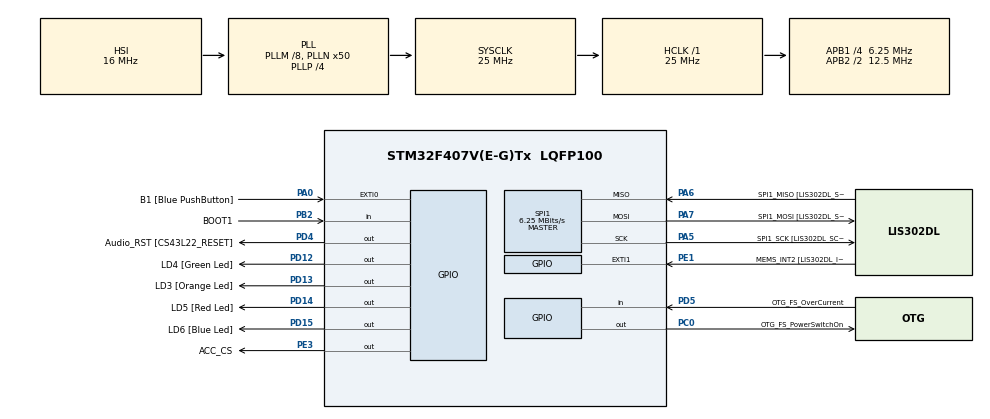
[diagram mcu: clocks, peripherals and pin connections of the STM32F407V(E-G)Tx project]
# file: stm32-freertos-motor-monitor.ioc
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FREERTOS.Tasks01=defaultTask,24,128,StartDefaultTask,Default,NULL,Dynamic,NULL,NULL
FREERTOS.configCHECK_FOR_STACK_OVERFLOW=2
FREERTOS.configUSE_MALLOC_FAILED_HOOK=1
FREERTOS.configUSE_NEWLIB_REENTRANT=1
Mcu.Family=STM32F4
Mcu.Name=STM32F407V(E-G)Tx
Mcu.Package=LQFP100
NVIC.EXTI0_IRQn=true\:6\:0\:true\:false\:true\:true\:true\:true\:true
NVIC.PriorityGroup=NVIC_PRIORITYGROUP_4
NVIC.TIM6_DAC_IRQn=true\:15\:0\:false\:false\:true\:false\:false\:true\:true
NVIC.TimeBase=TIM6_DAC_IRQn
NVIC.TimeBaseIP=TIM6
PA0-WKUP.GPIO_Label=B1 [Blue PushButton]
PA0-WKUP.Signal=GPXTI0
PA10.GPIO_Label=OTG_FS_ID
PA10.GPIO_Mode=GPIO_MODE_AF_PP
PA10.GPIO_PuPd=GPIO_NOPULL
PA10.GPIO_Speed=GPIO_SPEED_FREQ_LOW
PA10.Signal=USB_OTG_FS_ID
PA11.GPIO_Label=OTG_FS_DM
PA11.GPIO_Mode=GPIO_MODE_AF_PP
PA11.GPIO_PuPd=GPIO_NOPULL
PA11.GPIO_Speed=GPIO_SPEED_FREQ_LOW
PA11.Signal=USB_OTG_FS_DM
PA12.GPIO_Label=OTG_FS_DP
PA12.GPIO_Mode=GPIO_MODE_AF_PP
PA12.GPIO_PuPd=GPIO_NOPULL
PA12.GPIO_Speed=GPIO_SPEED_FREQ_LOW
PA12.Signal=USB_OTG_FS_DP
PA13.GPIO_Label=SWDIO
PA13.Signal=SYS_JTMS-SWDIO
PA14.GPIO_Label=SWCLK
PA14.Signal=SYS_JTCK-SWCLK
PA4.GPIO_Label=I2S3_WS [CS43L22_LRCK]
PA4.GPIO_Mode=GPIO_MODE_AF_PP
PA4.GPIO_PuPd=GPIO_NOPULL
PA4.GPIO_Speed=GPIO_SPEED_FREQ_LOW
PA4.Signal=I2S3_WS
PA5.GPIO_Label=SPI1_SCK [LIS302DL_SCL/SPC]
PA5.GPIO_Mode=GPIO_MODE_AF_PP
PA5.GPIO_PuPd=GPIO_NOPULL
PA5.GPIO_Speed=GPIO_SPEED_FREQ_LOW
PA5.Mode=Full_Duplex_Master
PA5.Signal=SPI1_SCK
PA6.GPIO_Label=SPI1_MISO [LIS302DL_SDO]
PA6.GPIO_Mode=GPIO_MODE_AF_PP
PA6.GPIO_PuPd=GPIO_NOPULL
PA6.GPIO_Speed=GPIO_SPEED_FREQ_LOW
PA6.Mode=Full_Duplex_Master
PA6.Signal=SPI1_MISO
PA7.GPIO_Label=SPI1_MOSI [LIS302DL_SDA/SDI/SDO]
PA7.GPIO_Mode=GPIO_MODE_AF_PP
PA7.GPIO_PuPd=GPIO_NOPULL
PA7.GPIO_Speed=GPIO_SPEED_FREQ_LOW
PA7.Mode=Full_Duplex_Master
PA7.Signal=SPI1_MOSI
PA9.GPIO_Label=VBUS_FS
PA9.GPIO_Mode=GPIO_MODE_INPUT
PA9.GPIO_PuPd=GPIO_NOPULL
PA9.Signal=USB_OTG_FS_VBUS
PB10.GPIO_Label=CLK_IN [MP45DT02_CLK]
PB10.GPIO_Mode=GPIO_MODE_AF_PP
PB10.GPIO_PuPd=GPIO_NOPULL
PB10.GPIO_Speed=GPIO_SPEED_FREQ_LOW
PB10.Signal=I2S2_CK
PB2.GPIO_Label=BOOT1
PB2.GPIO_Mode=GPIO_MODE_INPUT
PB2.GPIO_PuPd=GPIO_NOPULL
PB2.Signal=GPIO_Input
PB3.GPIO_Label=SWO
PB3.Signal=SYS_JTDO-SWO
PB6.GPIO_Label=Audio_SCL [CS43L22_SCL]
PB6.GPIO_Mode=GPIO_MODE_AF_OD
PB6.GPIO_PuPd=GPIO_NOPULL
PB6.GPIO_Speed=GPIO_SPEED_FREQ_LOW
PB6.Signal=I2C1_SCL
PB9.GPIO_Label=Audio_SDA [CS43L22_SDA]
PB9.GPIO_Mode=GPIO_MODE_AF_OD
PB9.GPIO_PuPd=GPIO_NOPULL
PB9.GPIO_Speed=GPIO_SPEED_FREQ_LOW
PB9.Signal=I2C1_SDA
PC0.GPIO_Label=OTG_FS_PowerSwitchOn
PC0.GPIO_PuPd=GPIO_NOPULL
PC0.GPIO_Speed=GPIO_SPEED_FREQ_LOW
PC0.PinState=GPIO_PIN_SET
PC0.Signal=GPIO_Output
PC10.GPIO_Label=I2S3_SCK [CS43L22_SCLK]
PC10.GPIO_Mode=GPIO_MODE_AF_PP
PC10.GPIO_PuPd=GPIO_NOPULL
PC10.GPIO_Speed=GPIO_SPEED_FREQ_LOW
PC10.Signal=I2S3_CK
PC12.GPIO_Label=I2S3_SD [CS43L22_SDIN]
PC12.GPIO_Mode=GPIO_MODE_AF_PP
PC12.GPIO_PuPd=GPIO_NOPULL
PC12.GPIO_Speed=GPIO_SPEED_FREQ_LOW
PC12.Signal=I2S3_SD
PC14-OSC32_IN.GPIO_Label=PC14-OSC32_IN
PC14-OSC32_IN.Signal=RCC_OSC32_IN
PC15-OSC32_OUT.GPIO_Label=PC15-OSC32_OUT
PC15-OSC32_OUT.Signal=RCC_OSC32_OUT
PC3.GPIO_Label=PDM_OUT [MP45DT02_DOUT]
PC3.GPIO_Mode=GPIO_MODE_AF_PP
PC3.GPIO_PuPd=GPIO_NOPULL
PC3.GPIO_Speed=GPIO_SPEED_FREQ_LOW
PC3.Signal=I2S2_SD
PC7.GPIO_Label=I2S3_MCK [CS43L22_MCLK]
PC7.GPIO_Mode=GPIO_MODE_AF_PP
PC7.GPIO_PuPd=GPIO_NOPULL
PC7.GPIO_Speed=GPIO_SPEED_FREQ_LOW
PC7.Signal=I2S3_MCK
PD12.GPIO_Label=LD4 [Green Led]
PD12.GPIO_PuPd=GPIO_NOPULL
PD12.GPIO_Speed=GPIO_SPEED_FREQ_LOW
PD12.Signal=GPIO_Output
PD13.GPIO_Label=LD3 [Orange Led]
PD13.GPIO_PuPd=GPIO_NOPULL
PD13.GPIO_Speed=GPIO_SPEED_FREQ_LOW
PD13.Signal=GPIO_Output
PD14.GPIO_Label=LD5 [Red Led]
PD14.GPIO_PuPd=GPIO_NOPULL
PD14.GPIO_Speed=GPIO_SPEED_FREQ_LOW
PD14.Signal=GPIO_Output
PD15.GPIO_Label=LD6 [Blue Led]
PD15.GPIO_PuPd=GPIO_NOPULL
PD15.GPIO_Speed=GPIO_SPEED_FREQ_LOW
PD15.Signal=GPIO_Output
PD4.GPIO_Label=Audio_RST [CS43L22_RESET]
PD4.GPIO_PuPd=GPIO_NOPULL
PD4.GPIO_Speed=GPIO_SPEED_FREQ_LOW
PD4.Signal=GPIO_Output
PD5.GPIO_Label=OTG_FS_OverCurrent
PD5.GPIO_Mode=GPIO_MODE_INPUT
PD5.GPIO_PuPd=GPIO_NOPULL
PD5.Signal=GPIO_Input
PE1.GPIO_Label=MEMS_INT2 [LIS302DL_INT2]
PE1.GPIO_ModeDefaultEXTI=GPIO_MODE_EVT_RISING
PE1.GPIO_PuPd=GPIO_NOPULL
PE1.Signal=GPXTI1
PE3.GPIO_Label=ACC_CS
PE3.GPIO_PuPd=GPIO_NOPULL
PE3.GPIO_Speed=GPIO_SPEED_FREQ_LOW
PE3.PinState=GPIO_PIN_SET
PE3.Signal=GPIO_Output
PH0-OSC_IN.GPIO_Label=PH0-OSC_IN
PH0-OSC_IN.Signal=RCC_OSC_IN
PH1-OSC_OUT.GPIO_Label=PH1-OSC_OUT
PH1-OSC_OUT.Signal=RCC_OSC_OUT
ProjectManager.HeapSize=0x200
ProjectManager.StackSize=0x400
ProjectManager.TargetToolchain=STM32CubeIDE
RCC.48MHZClocksFreq_Value=14285714.285714285
RCC.AHBFreq_Value=25000000
RCC.APB1CLKDivider=RCC_HCLK_DIV4
RCC.APB1Freq_Value=6250000
RCC.APB1TimFreq_Value=12500000
RCC.APB2CLKDivider=RCC_HCLK_DIV2
RCC.APB2Freq_Value=12500000
RCC.APB2TimFreq_Value=25000000
RCC.CortexFreq_Value=25000000
RCC.HCLKFreq_Value=25000000
RCC.HSE_VALUE=8000000
RCC.HSI_VALUE=16000000
RCC.LSE_VALUE=32768
RCC.PLLM=8
RCC.PLLN=50
RCC.PLLP=RCC_PLLP_DIV4
RCC.PLLQ=7
RCC.SYSCLKFreq_VALUE=25000000
RCC.SYSCLKSource=RCC_SYSCLKSOURCE_PLLCLK
RCC.VCOOutputFreq_Value=100000000
SPI1.CLKPhase=SPI_PHASE_2EDGE
SPI1.CLKPolarity=SPI_POLARITY_HIGH
SPI1.CalculateBaudRate=6.25 MBits/s
SPI1.Direction=SPI_DIRECTION_2LINES
SPI1.Mode=SPI_MODE_MASTER
SPI1.VirtualType=VM_MASTER
VP_FREERTOS_VS_CMSIS_V2.Mode=CMSIS_V2
VP_SYS_VS_tim6.Mode=TIM6
board=STM32F407G-DISC1

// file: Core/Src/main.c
/* USER CODE BEGIN Header */
/**
  ******************************************************************************
  * @file           : main.c
  * @brief          : Main program body
  ******************************************************************************
  * @attention
  *
  * Copyright (c) 2026 STMicroelectronics.
  * All rights reserved.
  *
  * This software is licensed under terms that can be found in the LICENSE file
  * in the root directory of this software component.
  * If no LICENSE file comes with this software, it is provided AS-IS.
  *
  ******************************************************************************
  */
/* USER CODE END Header */
#include "main.h"
#include "cmsis_os.h"

/* USER CODE BEGIN Includes */
#include "FreeRTOS.h"
#include "task.h"
#include "queue.h"
/* USER CODE END Includes */

SPI_HandleTypeDef hspi1;

/* Definitions for defaultTask */
osThreadId_t defaultTaskHandle;
const osThreadAttr_t defaultTask_attributes = {
  .name = "defaultTask",
  .stack_size = 128 * 4,
  .priority = (osPriority_t) osPriorityNormal,
};
/* USER CODE BEGIN PV */
static QueueHandle_t btnQueue;
static TaskHandle_t imuTaskHandle;
/* USER CODE END PV */

void SystemClock_Config(void);
static void MX_GPIO_Init(void);
static void MX_SPI1_Init(void);
void StartDefaultTask(void *argument);

/* USER CODE BEGIN 0 */
static void TaskA(void *arg)
{
  (void)arg;
  for (;;) {
    HAL_GPIO_WritePin(GPIOD, GPIO_PIN_12, GPIO_PIN_SET);    // yeşil yan
    HAL_Delay(1000);                                        // 1 saniye "çalış"
    HAL_GPIO_WritePin(GPIOD, GPIO_PIN_12, GPIO_PIN_RESET);  // yeşil sön
    vTaskDelay(pdMS_TO_TICKS(2000));                        // 2 saniye bekle
  }
}

static void TaskB(void *arg)
{
  (void)arg;
  TickType_t lastWake = xTaskGetTickCount();
  for (;;) {
    HAL_GPIO_WritePin(GPIOD, GPIO_PIN_13, GPIO_PIN_SET);    // turuncu yan
    HAL_Delay(1000);                                        // 1 saniye "çalış"
    HAL_GPIO_WritePin(GPIOD, GPIO_PIN_13, GPIO_PIN_RESET);  // turuncu sön
    vTaskDelayUntil(&lastWake, pdMS_TO_TICKS(2000));        // 2 saniyede bir
  }
}
static void ButtonTask(void *arg)
{
  (void)arg;
  uint32_t pressTick;
  uint32_t lastAccepted = 0;
  const uint32_t DEBOUNCE_MS = 50;

  for (;;) {
    if (xQueueReceive(btnQueue, &pressTick, portMAX_DELAY) == pdPASS) {
      // Son kabul edilen basıştan bu yana 50 ms geçmediyse: sıçrama, yok say
      if ((pressTick - lastAccepted) < pdMS_TO_TICKS(DEBOUNCE_MS)) {
        continue;
      }
      lastAccepted = pressTick;
      xTaskNotifyGive(imuTaskHandle);   // ImuTask'a "temizle" dürtmesi gönder
    }
  }
}
// İvmeölçerin bir kaydını okur
static uint8_t acc_read_reg(uint8_t reg)
{
  uint8_t tx = reg | 0x80;   // en üst bit 1 = "okumak istiyorum"
  uint8_t rx = 0;
  HAL_GPIO_WritePin(GPIOE, GPIO_PIN_3, GPIO_PIN_RESET);   // konuşmaya başla
  HAL_SPI_Transmit(&hspi1, &tx, 1, 10);                   // hangi kaydı istediğimi söyle
  HAL_SPI_Receive(&hspi1, &rx, 1, 10);                    // cevabı al
  HAL_GPIO_WritePin(GPIOE, GPIO_PIN_3, GPIO_PIN_SET);     // konuşmayı bitir
  return rx;
}

// İvmeölçerin bir kaydına yazar
static void acc_write_reg(uint8_t reg, uint8_t val)
{
  uint8_t tx[2] = { reg & 0x7F, val };   // en üst bit 0 = "yazmak istiyorum"
  HAL_GPIO_WritePin(GPIOE, GPIO_PIN_3, GPIO_PIN_RESET);
  HAL_SPI_Transmit(&hspi1, tx, 2, 10);
  HAL_GPIO_WritePin(GPIOE, GPIO_PIN_3, GPIO_PIN_SET);
}

// Bir eksenin değerini okur (alt byte + üst byte = 16 bit)
static int16_t acc_read_axis(uint8_t reg_low)
{
  uint8_t lo = acc_read_reg(reg_low);
  uint8_t hi = acc_read_reg(reg_low + 1);
  return (int16_t)((hi << 8) | lo);
}

static void ImuTask(void *arg)
{
  (void)arg;
  __HAL_SPI_ENABLE(&hspi1);
  vTaskDelay(pdMS_TO_TICKS(10));

  if (acc_read_reg(0x0F) != 0x3F) {
    HAL_GPIO_WritePin(GPIOD, GPIO_PIN_14, GPIO_PIN_SET);
    for (;;) { vTaskDelay(pdMS_TO_TICKS(1000)); }
  }

  acc_write_reg(0x20, 0x67);

  const int16_t  TILT_LIMIT      = 11800;  // yaklaşık 45 derece
  const uint32_t CONFIRM_SAMPLES = 50;     // 50 x 10 ms = 500 ms
  uint32_t tiltCount = 0;
  int latched = 0;   // 1 = arıza kilitli
  TickType_t lastWake = xTaskGetTickCount();

  for (;;) {
    int16_t x = acc_read_axis(0x28);
    int16_t y = acc_read_axis(0x2A);

    int tilted = (x > TILT_LIMIT || x < -TILT_LIMIT ||
                  y > TILT_LIMIT || y < -TILT_LIMIT);

    // Debounce: eğim kesintisiz devam ederse say, bir kez bile düzse sıfırla
    if (tilted) {
      if (tiltCount < CONFIRM_SAMPLES) {
        tiltCount++;
      }
    } else {
      tiltCount = 0;
    }

    if (tiltCount >= CONFIRM_SAMPLES) {
      latched = 1;   // devrilme onaylandı: kilitle
    }

    // Butondan dürtme geldiyse ve kart artık düzse: kilidi aç
    if (ulTaskNotifyTake(pdTRUE, 0) > 0) {
      if (!tilted) {
        latched = 0;
      }
    }

    if (latched) {
      HAL_GPIO_WritePin(GPIOD, GPIO_PIN_12, GPIO_PIN_RESET);
      HAL_GPIO_WritePin(GPIOD, GPIO_PIN_14, GPIO_PIN_SET);
    } else {
      HAL_GPIO_WritePin(GPIOD, GPIO_PIN_14, GPIO_PIN_RESET);
      HAL_GPIO_WritePin(GPIOD, GPIO_PIN_12, GPIO_PIN_SET);
    }

    vTaskDelayUntil(&lastWake, pdMS_TO_TICKS(10));
  }
}
/* USER CODE END 0 */

int main(void)
{

  /* MCU Configuration--------------------------------------------------------*/

  /* Reset of all peripherals, Initializes the Flash interface and the Systick. */
  HAL_Init();

  /* Configure the system clock */
  SystemClock_Config();

  /* Initialize all configured peripherals */
  MX_GPIO_Init();
  MX_SPI1_Init();

  /* Init scheduler */
  osKernelInitialize();

  /* Create the thread(s) */
  /* creation of defaultTask */
  defaultTaskHandle = osThreadNew(StartDefaultTask, NULL, &defaultTask_attributes);

  /* USER CODE BEGIN RTOS_THREADS */
  btnQueue = xQueueCreate(8, sizeof(uint32_t));
  //xTaskCreate(TaskA, "TaskA", 256, NULL, 1, NULL);
  //xTaskCreate(TaskB, "TaskB", 256, NULL, 2, NULL);
  xTaskCreate(ButtonTask, "Button", 256, NULL, 3, NULL);
  xTaskCreate(ImuTask, "Imu", 256, NULL, 4, &imuTaskHandle);
  /* add threads, ... */
  /* USER CODE END RTOS_THREADS */

  /* Start scheduler */
  osKernelStart();

  /* We should never get here as control is now taken by the scheduler */

  /* Infinite loop */
  while (1)
  {

  }
}

void SystemClock_Config(void)
{
  RCC_OscInitTypeDef RCC_OscInitStruct = {0};
  RCC_ClkInitTypeDef RCC_ClkInitStruct = {0};

  /** Configure the main internal regulator output voltage
  */
  __HAL_RCC_PWR_CLK_ENABLE();
  __HAL_PWR_VOLTAGESCALING_CONFIG(PWR_REGULATOR_VOLTAGE_SCALE1);

  /** Initializes the RCC Oscillators according to the specified parameters
  * in the RCC_OscInitTypeDef structure.
  */
  RCC_OscInitStruct.OscillatorType = RCC_OSCILLATORTYPE_HSI;
  RCC_OscInitStruct.HSIState = RCC_HSI_ON;
  RCC_OscInitStruct.HSICalibrationValue = RCC_HSICALIBRATION_DEFAULT;
  RCC_OscInitStruct.PLL.PLLState = RCC_PLL_ON;
  RCC_OscInitStruct.PLL.PLLSource = RCC_PLLSOURCE_HSI;
  RCC_OscInitStruct.PLL.PLLM = 8;
  RCC_OscInitStruct.PLL.PLLN = 50;
  RCC_OscInitStruct.PLL.PLLP = RCC_PLLP_DIV4;
  RCC_OscInitStruct.PLL.PLLQ = 7;
  if (HAL_RCC_OscConfig(&RCC_OscInitStruct) != HAL_OK)
  {
    Error_Handler();
  }

  /** Initializes the CPU, AHB and APB buses clocks
  */
  RCC_ClkInitStruct.ClockType = RCC_CLOCKTYPE_HCLK|RCC_CLOCKTYPE_SYSCLK
                              |RCC_CLOCKTYPE_PCLK1|RCC_CLOCKTYPE_PCLK2;
  RCC_ClkInitStruct.SYSCLKSource = RCC_SYSCLKSOURCE_PLLCLK;
  RCC_ClkInitStruct.AHBCLKDivider = RCC_SYSCLK_DIV1;
  RCC_ClkInitStruct.APB1CLKDivider = RCC_HCLK_DIV4;
  RCC_ClkInitStruct.APB2CLKDivider = RCC_HCLK_DIV2;

  if (HAL_RCC_ClockConfig(&RCC_ClkInitStruct, FLASH_LATENCY_0) != HAL_OK)
  {
    Error_Handler();
  }
}

static void MX_SPI1_Init(void)
{

  /* SPI1 parameter configuration*/
  hspi1.Instance = SPI1;
  hspi1.Init.Mode = SPI_MODE_MASTER;
  hspi1.Init.Direction = SPI_DIRECTION_2LINES;
  hspi1.Init.DataSize = SPI_DATASIZE_8BIT;
  hspi1.Init.CLKPolarity = SPI_POLARITY_HIGH;
  hspi1.Init.CLKPhase = SPI_PHASE_2EDGE;
  hspi1.Init.NSS = SPI_NSS_SOFT;
  hspi1.Init.BaudRatePrescaler = SPI_BAUDRATEPRESCALER_2;
  hspi1.Init.FirstBit = SPI_FIRSTBIT_MSB;
  hspi1.Init.TIMode = SPI_TIMODE_DISABLE;
  hspi1.Init.CRCCalculation = SPI_CRCCALCULATION_DISABLE;
  hspi1.Init.CRCPolynomial = 10;
  if (HAL_SPI_Init(&hspi1) != HAL_OK)
  {
    Error_Handler();
  }

}

static void MX_GPIO_Init(void)
{
  GPIO_InitTypeDef GPIO_InitStruct = {0};

  /* GPIO Ports Clock Enable */
  __HAL_RCC_GPIOE_CLK_ENABLE();
  __HAL_RCC_GPIOC_CLK_ENABLE();
  __HAL_RCC_GPIOH_CLK_ENABLE();
  __HAL_RCC_GPIOA_CLK_ENABLE();
  __HAL_RCC_GPIOB_CLK_ENABLE();
  __HAL_RCC_GPIOD_CLK_ENABLE();

  /*Configure GPIO pin Output Level */
  HAL_GPIO_WritePin(ACC_CS_GPIO_Port, ACC_CS_Pin, GPIO_PIN_SET);

  /*Configure GPIO pin Output Level */
  HAL_GPIO_WritePin(OTG_FS_PowerSwitchOn_GPIO_Port, OTG_FS_PowerSwitchOn_Pin, GPIO_PIN_SET);

  /*Configure GPIO pin Output Level */
  HAL_GPIO_WritePin(GPIOD, LD4_Pin|LD3_Pin|LD5_Pin|LD6_Pin
                          |Audio_RST_Pin, GPIO_PIN_RESET);

  /*Configure GPIO pin : ACC_CS_Pin */
  GPIO_InitStruct.Pin = ACC_CS_Pin;
  GPIO_InitStruct.Mode = GPIO_MODE_OUTPUT_PP;
  GPIO_InitStruct.Pull = GPIO_NOPULL;
  GPIO_InitStruct.Speed = GPIO_SPEED_FREQ_LOW;
  HAL_GPIO_Init(ACC_CS_GPIO_Port, &GPIO_InitStruct);

  /*Configure GPIO pin : OTG_FS_PowerSwitchOn_Pin */
  GPIO_InitStruct.Pin = OTG_FS_PowerSwitchOn_Pin;
  GPIO_InitStruct.Mode = GPIO_MODE_OUTPUT_PP;
  GPIO_InitStruct.Pull = GPIO_NOPULL;
  GPIO_InitStruct.Speed = GPIO_SPEED_FREQ_LOW;
  HAL_GPIO_Init(OTG_FS_PowerSwitchOn_GPIO_Port, &GPIO_InitStruct);

  /*Configure GPIO pin : PDM_OUT_Pin */
  GPIO_InitStruct.Pin = PDM_OUT_Pin;
  GPIO_InitStruct.Mode = GPIO_MODE_AF_PP;
  GPIO_InitStruct.Pull = GPIO_NOPULL;
  GPIO_InitStruct.Speed = GPIO_SPEED_FREQ_LOW;
  GPIO_InitStruct.Alternate = GPIO_AF5_SPI2;
  HAL_GPIO_Init(PDM_OUT_GPIO_Port, &GPIO_InitStruct);

  /*Configure GPIO pin : B1_Pin */
  GPIO_InitStruct.Pin = B1_Pin;
  GPIO_InitStruct.Mode = GPIO_MODE_IT_RISING;
  GPIO_InitStruct.Pull = GPIO_NOPULL;
  HAL_GPIO_Init(B1_GPIO_Port, &GPIO_InitStruct);

  /*Configure GPIO pin : I2S3_WS_Pin */
  GPIO_InitStruct.Pin = I2S3_WS_Pin;
  GPIO_InitStruct.Mode = GPIO_MODE_AF_PP;
  GPIO_InitStruct.Pull = GPIO_NOPULL;
  GPIO_InitStruct.Speed = GPIO_SPEED_FREQ_LOW;
  GPIO_InitStruct.Alternate = GPIO_AF6_SPI3;
  HAL_GPIO_Init(I2S3_WS_GPIO_Port, &GPIO_InitStruct);

  /*Configure GPIO pin : BOOT1_Pin */
  GPIO_InitStruct.Pin = BOOT1_Pin;
  GPIO_InitStruct.Mode = GPIO_MODE_INPUT;
  GPIO_InitStruct.Pull = GPIO_NOPULL;
  HAL_GPIO_Init(BOOT1_GPIO_Port, &GPIO_InitStruct);

  /*Configure GPIO pin : CLK_IN_Pin */
  GPIO_InitStruct.Pin = CLK_IN_Pin;
  GPIO_InitStruct.Mode = GPIO_MODE_AF_PP;
  GPIO_InitStruct.Pull = GPIO_NOPULL;
  GPIO_InitStruct.Speed = GPIO_SPEED_FREQ_LOW;
  GPIO_InitStruct.Alternate = GPIO_AF5_SPI2;
  HAL_GPIO_Init(CLK_IN_GPIO_Port, &GPIO_InitStruct);

  /*Configure GPIO pins : LD4_Pin LD3_Pin LD5_Pin LD6_Pin
                           Audio_RST_Pin */
  GPIO_InitStruct.Pin = LD4_Pin|LD3_Pin|LD5_Pin|LD6_Pin
                          |Audio_RST_Pin;
  GPIO_InitStruct.Mode = GPIO_MODE_OUTPUT_PP;
  GPIO_InitStruct.Pull = GPIO_NOPULL;
  GPIO_InitStruct.Speed = GPIO_SPEED_FREQ_LOW;
  HAL_GPIO_Init(GPIOD, &GPIO_InitStruct);

  /*Configure GPIO pins : I2S3_MCK_Pin I2S3_SCK_Pin I2S3_SD_Pin */
  GPIO_InitStruct.Pin = I2S3_MCK_Pin|I2S3_SCK_Pin|I2S3_SD_Pin;
  GPIO_InitStruct.Mode = GPIO_MODE_AF_PP;
  GPIO_InitStruct.Pull = GPIO_NOPULL;
  GPIO_InitStruct.Speed = GPIO_SPEED_FREQ_LOW;
  GPIO_InitStruct.Alternate = GPIO_AF6_SPI3;
  HAL_GPIO_Init(GPIOC, &GPIO_InitStruct);

  /*Configure GPIO pin : VBUS_FS_Pin */
  GPIO_InitStruct.Pin = VBUS_FS_Pin;
  GPIO_InitStruct.Mode = GPIO_MODE_INPUT;
  GPIO_InitStruct.Pull = GPIO_NOPULL;
  HAL_GPIO_Init(VBUS_FS_GPIO_Port, &GPIO_InitStruct);

  /*Configure GPIO pins : OTG_FS_ID_Pin OTG_FS_DM_Pin OTG_FS_DP_Pin */
  GPIO_InitStruct.Pin = OTG_FS_ID_Pin|OTG_FS_DM_Pin|OTG_FS_DP_Pin;
  GPIO_InitStruct.Mode = GPIO_MODE_AF_PP;
  GPIO_InitStruct.Pull = GPIO_NOPULL;
  GPIO_InitStruct.Speed = GPIO_SPEED_FREQ_LOW;
  GPIO_InitStruct.Alternate = GPIO_AF10_OTG_FS;
  HAL_GPIO_Init(GPIOA, &GPIO_InitStruct);

  /*Configure GPIO pin : OTG_FS_OverCurrent_Pin */
  GPIO_InitStruct.Pin = OTG_FS_OverCurrent_Pin;
  GPIO_InitStruct.Mode = GPIO_MODE_INPUT;
  GPIO_InitStruct.Pull = GPIO_NOPULL;
  HAL_GPIO_Init(OTG_FS_OverCurrent_GPIO_Port, &GPIO_InitStruct);

  /*Configure GPIO pins : Audio_SCL_Pin Audio_SDA_Pin */
  GPIO_InitStruct.Pin = Audio_SCL_Pin|Audio_SDA_Pin;
  GPIO_InitStruct.Mode = GPIO_MODE_AF_OD;
  GPIO_InitStruct.Pull = GPIO_NOPULL;
  GPIO_InitStruct.Speed = GPIO_SPEED_FREQ_LOW;
  GPIO_InitStruct.Alternate = GPIO_AF4_I2C1;
  HAL_GPIO_Init(GPIOB, &GPIO_InitStruct);

  /*Configure GPIO pin : MEMS_INT2_Pin */
  GPIO_InitStruct.Pin = MEMS_INT2_Pin;
  GPIO_InitStruct.Mode = GPIO_MODE_EVT_RISING;
  GPIO_InitStruct.Pull = GPIO_NOPULL;
  HAL_GPIO_Init(MEMS_INT2_GPIO_Port, &GPIO_InitStruct);

  /* EXTI interrupt init*/
  HAL_NVIC_SetPriority(EXTI0_IRQn, 6, 0);
  HAL_NVIC_EnableIRQ(EXTI0_IRQn);

}

/* USER CODE BEGIN 4 */
void HAL_GPIO_EXTI_Callback(uint16_t GPIO_Pin)
{
  if (GPIO_Pin == GPIO_PIN_0) {
    BaseType_t woken = pdFALSE;
    uint32_t t = xTaskGetTickCountFromISR();
    xQueueSendFromISR(btnQueue, &t, &woken);
    portYIELD_FROM_ISR(woken);
  }
}
/* USER CODE END 4 */

void StartDefaultTask(void *argument)
{
  for(;;)
  {
    osDelay(1);
  }
}

void HAL_TIM_PeriodElapsedCallback(TIM_HandleTypeDef *htim)
{
  if (htim->Instance == TIM6)
  {
    HAL_IncTick();
  }
}

void Error_Handler(void)
{
  __disable_irq();
  while (1)
  {
  }
}

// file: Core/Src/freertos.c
/* USER CODE BEGIN Header */
/**
  ******************************************************************************
  * File Name          : freertos.c
  * Description        : Code for freertos applications
  ******************************************************************************
  * @attention
  *
  * Copyright (c) 2026 STMicroelectronics.
  * All rights reserved.
  *
  * This software is licensed under terms that can be found in the LICENSE file
  * in the root directory of this software component.
  * If no LICENSE file comes with this software, it is provided AS-IS.
  *
  ******************************************************************************
  */
/* USER CODE END Header */

#include "FreeRTOS.h"
#include "task.h"
#include "main.h"

/* Hook prototypes */
void vApplicationStackOverflowHook(xTaskHandle xTask, signed char *pcTaskName);
void vApplicationMallocFailedHook(void);

/* USER CODE BEGIN 4 */
void vApplicationStackOverflowHook(xTaskHandle xTask, signed char *pcTaskName)
{
   /* Run time stack overflow checking is performed if
   configCHECK_FOR_STACK_OVERFLOW is defined to 1 or 2. This hook function is
   called if a stack overflow is detected. */
	HAL_GPIO_WritePin(GPIOD, GPIO_PIN_14, GPIO_PIN_SET);  // kırmızı LED
	for (;;) { }
}
/* USER CODE END 4 */

/* USER CODE BEGIN 5 */
void vApplicationMallocFailedHook(void)
{
   /* vApplicationMallocFailedHook() will only be called if
   configUSE_MALLOC_FAILED_HOOK is set to 1 in FreeRTOSConfig.h. It is a hook
   function that will get called if a call to pvPortMalloc() fails.
   pvPortMalloc() is called internally by the kernel whenever a task, queue,
   timer or semaphore is created. It is also called by various parts of the
   demo application. If heap_1.c or heap_2.c are used, then the size of the
   heap available to pvPortMalloc() is defined by configTOTAL_HEAP_SIZE in
   FreeRTOSConfig.h, and the xPortGetFreeHeapSize() API function can be used
   to query the size of free heap space that remains (although it does not
   provide information on how the remaining heap might be fragmented). */
	HAL_GPIO_WritePin(GPIOD, GPIO_PIN_14, GPIO_PIN_SET);  // kırmızı LED
	for (;;) { }
}
/* USER CODE END 5 */
